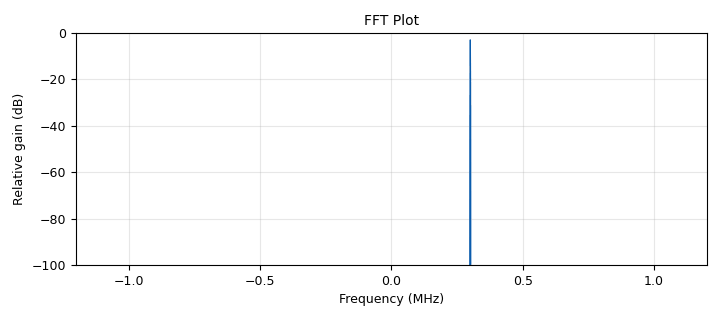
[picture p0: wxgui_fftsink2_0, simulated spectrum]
<?xml version='1.0' encoding='utf-8'?>
<flow_graph>
<block>
<key>options</key>
<param><key>id</key><value>top_block</value></param>
<param><key>generate_options</key><value>wx_gui</value></param>
<param><key>category</key><value>Custom</value></param>
</block>
<block>
<key>variable</key>
<param><key>id</key><value>samp_rate</value></param>
<param><key>value</key><value>2.4e6</value></param>
</block>
<block>
<key>variable</key>
<param><key>id</key><value>fft_size</value></param>
<param><key>value</key><value>4096</value></param>
</block>
<block>
<key>fft_vxx</key>
<param><key>id</key><value>fft_vxx_0</value></param>
<param><key>type</key><value>complex</value></param>
<param><key>fft_size</key><value>fft_size</value></param>
<param><key>forward</key><value>True</value></param>
<param><key>window</key><value>window.blackmanharris(1024)</value></param>
<param><key>shift</key><value>False</value></param>
</block>
<block>
<key>howto_spectrum_sensing_cf</key>
<param><key>id</key><value>howto_spectrum_sensing_cf_0</value></param>
<param><key>sample_rate</key><value>samp_rate</value></param>
<param><key>ninput_samples</key><value>fft_size</value></param>
<param><key>samples_per_band</key><value>16</value></param>
<param><key>pfd</key><value>0.001</value></param>
<param><key>pfa</key><value>0.0001</value></param>
<param><key>tcme</key><value>1.9528</value></param>
<param><key>output_far</key><value>True</value></param>
<param><key>band_location</key><value>0</value></param>
<param><key>debug_stats</key><value>True</value></param>
<param><key>debug_histogram</key><value>False</value></param>
<param><key>useless_band</key><value>300000.0</value></param>
</block>
<block>
<key>gr_null_sink</key>
<param><key>id</key><value>gr_null_sink_0</value></param>
<param><key>type</key><value>float</value></param>
<param><key>vlen</key><value>1</value></param>
</block>
<block>
<key>howto_stream_to_vector</key>
<param><key>id</key><value>howto_stream_to_vector_0</value></param>
<param><key>type</key><value>complex</value></param>
<param><key>num_items</key><value>4096</value></param>
<param><key>vlen</key><value>1</value></param>
</block>
<block>
<key>gr_throttle</key>
<param><key>id</key><value>gr_throttle_0</value></param>
<param><key>type</key><value>complex</value></param>
<param><key>samples_per_second</key><value>samp_rate</value></param>
<param><key>vlen</key><value>1</value></param>
</block>
<block>
<key>wxgui_fftsink2</key>
<param><key>id</key><value>wxgui_fftsink2_0</value></param>
<param><key>type</key><value>complex</value></param>
<param><key>title</key><value>FFT Plot</value></param>
<param><key>samp_rate</key><value>samp_rate</value></param>
<param><key>baseband_freq</key><value>0</value></param>
<param><key>y_per_div</key><value>10</value></param>
<param><key>y_divs</key><value>10</value></param>
<param><key>ref_level</key><value>0</value></param>
<param><key>ref_scale</key><value>2.0</value></param>
<param><key>fft_size</key><value>4096</value></param>
<param><key>fft_rate</key><value>1000</value></param>
<param><key>peak_hold</key><value>False</value></param>
<param><key>average</key><value>False</value></param>
<param><key>avg_alpha</key><value>0</value></param>
<param><key>win</key><value>None</value></param>
<param><key>freqvar</key><value>None</value></param>
</block>
<block>
<key>gr_sig_source_x</key>
<param><key>id</key><value>gr_sig_source_x_0</value></param>
<param><key>type</key><value>complex</value></param>
<param><key>samp_rate</key><value>samp_rate</value></param>
<param><key>waveform</key><value>gr.GR_COS_WAVE</value></param>
<param><key>freq</key><value>300000</value></param>
<param><key>amp</key><value>1</value></param>
<param><key>offset</key><value>0</value></param>
</block>
<connection><source_block_id>fft_vxx_0</source_block_id><sink_block_id>howto_spectrum_sensing_cf_0</sink_block_id><source_key>0</source_key><sink_key>0</sink_key></connection>
<connection><source_block_id>howto_stream_to_vector_0</source_block_id><sink_block_id>fft_vxx_0</sink_block_id><source_key>0</source_key><sink_key>0</sink_key></connection>
<connection><source_block_id>howto_spectrum_sensing_cf_0</source_block_id><sink_block_id>gr_null_sink_0</sink_block_id><source_key>0</source_key><sink_key>0</sink_key></connection>
<connection><source_block_id>gr_sig_source_x_0</source_block_id><sink_block_id>howto_stream_to_vector_0</sink_block_id><source_key>0</source_key><sink_key>0</sink_key></connection>
<connection><source_block_id>gr_throttle_0</source_block_id><sink_block_id>wxgui_fftsink2_0</sink_block_id><source_key>0</source_key><sink_key>0</sink_key></connection>
<connection><source_block_id>gr_sig_source_x_0</source_block_id><sink_block_id>gr_throttle_0</sink_block_id><source_key>0</source_key><sink_key>0</sink_key></connection>
</flow_graph>
